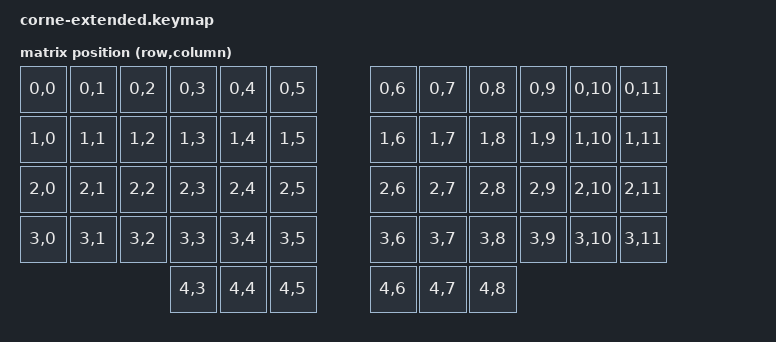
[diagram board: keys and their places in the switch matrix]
#include <dt-bindings/zmk/matrix_transform.h>

/ {
	chosen {
		zmk,kscan = &kscan0;
		zmk,matrix_transform = &default_transform;
	};

	default_transform: keymap_transform_0 {
		compatible = "zmk,matrix-transform";
		columns = <12>;
		rows = <5>;
// | SW1  | SW2  | SW3  | SW4  | SW5  | SW6  |   | SW6  | SW5  | SW4  | SW3  | SW2  | SW1  |
// | SW7  | SW8  | SW9  | SW10 | SW11 | SW12 |   | SW12 | SW11 | SW10 | SW9  | SW8  | SW7  |
// | SW13 | SW14 | SW15 | SW16 | SW17 | SW18 |   | SW18 | SW17 | SW16 | SW15 | SW14 | SW13 |
//                      | SW19 | SW20 | SW21 |   | SW21 | SW20 | SW19 |
		map = <
RC(0,0) RC(0,1) RC(0,2) RC(0,3) RC(0,4) RC(0,5)  RC(0,6) RC(0,7) RC(0,8) RC(0,9) RC(0,10) RC(0,11)
RC(1,0) RC(1,1) RC(1,2) RC(1,3) RC(1,4) RC(1,5)  RC(1,6) RC(1,7) RC(1,8) RC(1,9) RC(1,10) RC(1,11)
RC(2,0) RC(2,1) RC(2,2) RC(2,3) RC(2,4) RC(2,5)  RC(2,6) RC(2,7) RC(2,8) RC(2,9) RC(2,10) RC(2,11)
RC(3,0) RC(3,1) RC(3,2) RC(3,3) RC(3,4) RC(3,5)  RC(3,6) RC(3,7) RC(3,8) RC(3,9) RC(3,10) RC(3,11)
                        RC(4,3) RC(4,4) RC(4,5)  RC(4,6) RC(4,7) RC(4,8)
		>;
	};
	kscan0: kscan {
		compatible = "zmk,kscan-gpio-matrix";
		label = "KSCAN";

		diode-direction = "col2row";
		
	};
};
